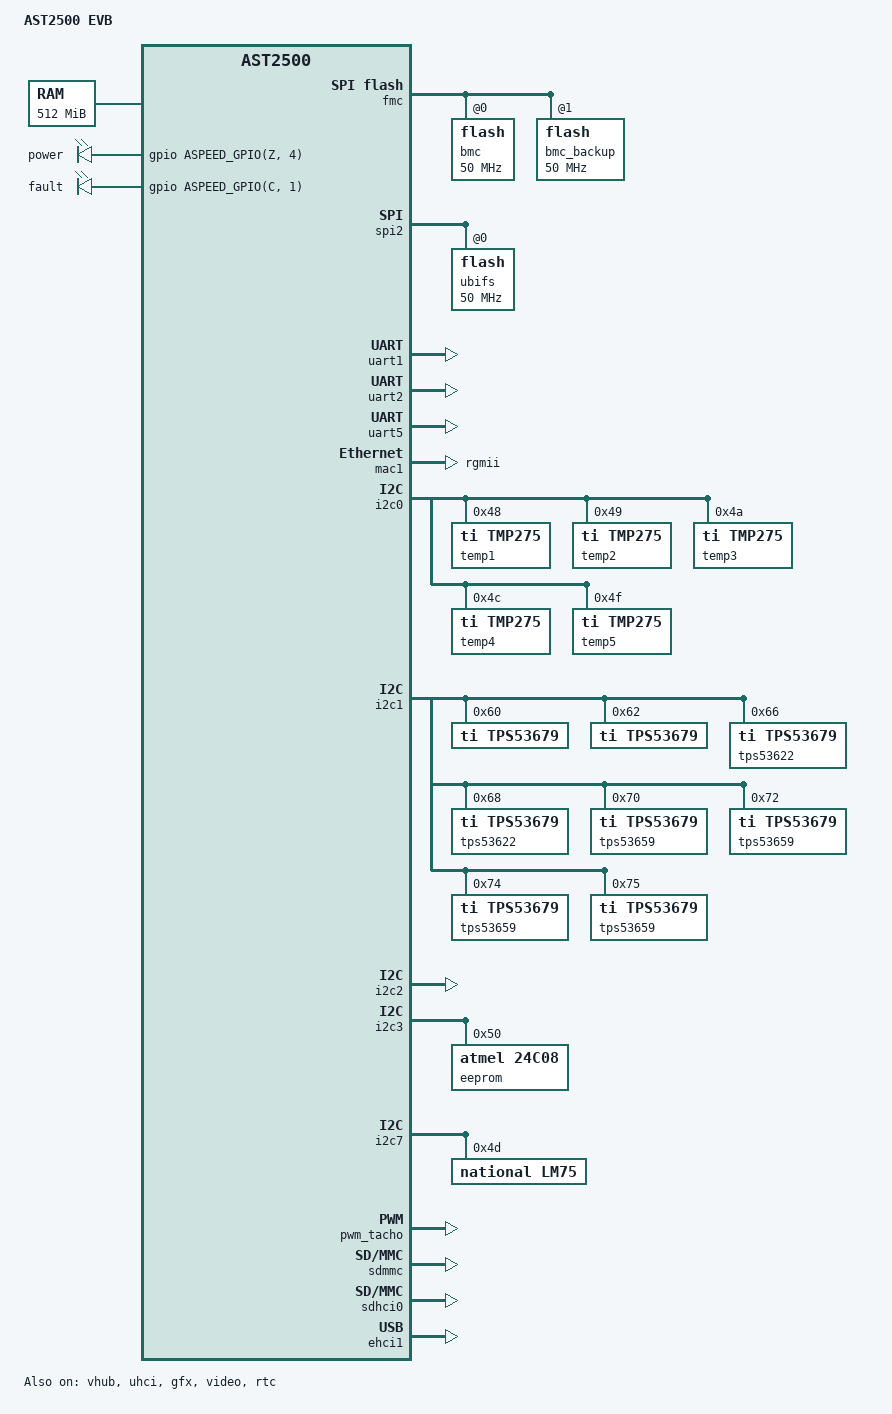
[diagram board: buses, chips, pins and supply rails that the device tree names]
// SPDX-License-Identifier: GPL-2.0+
/dts-v1/;

#include "aspeed-g5.dtsi"
#include <dt-bindings/gpio/aspeed-gpio.h>
/ {
	model = "AST2500 EVB";
	compatible = "aspeed,ast2500-evb", "aspeed,ast2500";

	aliases {
		serial4 = &uart5;
	};

	chosen {
		stdout-path = &uart5;
		bootargs = "console=tty0 console=ttyS4,115200 earlycon";
	};

	memory@80000000 {
		reg = <0x80000000 0x20000000>;
	};

	reserved-memory {
		#address-cells = <1>;
		#size-cells = <1>;
		ranges;

		gfx_memory: framebuffer {
			size = <0x01000000>;
			alignment = <0x01000000>;
			compatible = "shared-dma-pool";
			reusable;
		};

		video_engine_memory: jpegbuffer {
			size = <0x02000000>;	/* 32MM */
			alignment = <0x01000000>;
			compatible = "shared-dma-pool";
			reusable;
 		};		
	};

leds {
		compatible = "gpio-leds";

		power {
			label = "power";
			gpios = <&gpio ASPEED_GPIO(Z, 4) GPIO_ACTIVE_HIGH>;
		};

		fault {
			label = "fault";
			gpios = <&gpio ASPEED_GPIO(C, 1) GPIO_ACTIVE_HIGH>;
		};
	};
	
/*
	gpio-keys {
	   compatible = "gpio-keys, aspeed,ast2500-gpio";
	   
	   powerAction {
	     label = "powerAction";
	     gpios = <&gpio ASPEED_GPIO(Z, 2) GPIO_LINE_OPEN_DRAIN>;
	     linux,code = <&gpio ASPEED_GPIO(Z, 2)>;
	   };
	   
	   powerStatus {
	     label = "powerStatus";
	     gpios = <&gpio ASPEED_GPIO(Z, 0) GPIO_ACTIVE_LOW>;
	     linux,code = <&gpio ASPEED_GPIO(Z, 0)>;
	   };
	 };
*/
};

&fmc {
	status = "okay";
	flash@0 {
		status = "okay";
		m25p,fast-read;
		label = "bmc";
		spi-max-frequency = <50000000>;
#include "openbmc-flash-layout.dtsi"
	};
	
	flash@1 {
		status = "okay";
		m25p,fast-read;
		label = "bmc_backup";
		spi-max-frequency = <50000000>;
#include "openbmc-flash-layout_backup.dtsi"
	};	
};

&spi1 {
	status = "disabled";
	flash@0 {
		status = "disabled";
		m25p,fast-read;
		label = "pnor";
		spi-max-frequency = <100000000>;
	};
};

&spi2 {
	status = "okay";
	pinctrl-names = "default";
	pinctrl-0 = <&pinctrl_spi2ck_default &pinctrl_spi2cs0_default &pinctrl_spi2miso_default &pinctrl_spi2mosi_default>;

	flash@0 {
		status = "okay";
		m25p,fast-read;
		label = "ubifs";
		spi-max-frequency = <50000000>;
	};
};

&uart1 {
	status = "okay";
	pinctrl-names = "default";
	pinctrl-0 = <&pinctrl_txd1_default
			     &pinctrl_rxd1_default
			     &pinctrl_nrts1_default
			     &pinctrl_ndtr1_default
			     &pinctrl_ndsr1_default
			     &pinctrl_ncts1_default
			     &pinctrl_ndcd1_default
			     &pinctrl_nri1_default>;
};

&uart2 {
	status = "okay";
	pinctrl-names = "default";
	pinctrl-0 = <&pinctrl_txd2_default
			     &pinctrl_rxd2_default
			     &pinctrl_nrts2_default
			     &pinctrl_ndtr2_default
			     &pinctrl_ndsr2_default
			     &pinctrl_ncts2_default
			     &pinctrl_ndcd2_default
			     &pinctrl_nri2_default>;
};

&uart5 {
	status = "okay";
};

/*
&mac0 {
	status = "okay";

	pinctrl-names = "default";
	pinctrl-0 = <&pinctrl_rmii1_default &pinctrl_mdio1_default>;
	// Below is the default MAC address and it should be updated via u-boot
	mac-address = [00 03 73 00 00 00];

	phy-mode = "rmii";
    fixed-link = <0 1 1000 0 0>;

	mdio1:mdio {

        #address-cells = <1>;
        #size-cells = <0>;
	};
};
*/

 &mac1 {
 	status = "okay";
 
 	pinctrl-names = "default";
 	pinctrl-0 = <&pinctrl_rgmii2_default &pinctrl_mdio2_default>;
	/*Below is the default MAC address and it should be updated via u-boot*/
	mac-address = [00 03 73 00 00 00];

	phy-mode = "rgmii";
};

&i2c0 {
	status = "okay";
	//Airmax Conn B, CPU0 PIROM, CPU1 PIROM

	temp1@48 {
		compatible = "ti,tmp275";
		reg = <0x48>;
		status = "okay";
	};
	
	temp2@49 {
		compatible = "ti,tmp275";
		reg = <0x49>;
		status = "okay";
	};
		
	temp3@4a {
		compatible = "ti,tmp275";
		reg = <0x4a>;
		status = "okay";
	};
		
	temp4@4c {
		compatible = "ti,tmp275";
		reg = <0x4c>;
		status = "okay";
	};

	temp5@4f {
		compatible = "ti,tmp275";
		reg = <0x4f>;
		status = "okay";
	};
};

&i2c1 {
	status = "okay";

	tps53679@60 {
		compatible = "ti,tps53679";
		reg = <0x60>;
	};

	tps53679@62 {
		compatible = "ti,tps53679";
		reg = <0x62>;
	};
	
	tps53622@66 {
		compatible = "ti,tps53679";
		reg = <0x66>;
	};
	
	tps53622@68 {
		compatible = "ti,tps53679";
		reg = <0x68>;
	};

	tps53659@70 {
		compatible = "ti,tps53679";
		reg = <0x70>;
	};
		
	tps53659@72 {
		compatible = "ti,tps53679";
		reg = <0x72>;
	};
	
	tps53659@74 {
		compatible = "ti,tps53679";
		reg = <0x74>;
	};
	
	tps53659@75 {
		compatible = "ti,tps53679";
		reg = <0x75>;
	};
};

&i2c2 {
	status = "okay";

};

&i2c3 {
	status = "okay";

	eeprom@50 {
		compatible = "atmel,24c08";
		reg = <0x50>;
		pagesize = <16>;
	};
};

&i2c7 {
	status = "okay";

	lm75@4d {
		compatible = "national,lm75";
		reg = <0x4d>;
	};
};

&pwm_tacho {
	status = "okay";
	pinctrl-names = "default";
	pinctrl-0 = <&pinctrl_pwm0_default &pinctrl_pwm1_default
				 &pinctrl_pwm2_default &pinctrl_pwm3_default
				 &pinctrl_pwm4_default>;

	fan@0 {
		reg = <0x00>;
		fan-tach-ch = /bits/ 8 <0x00>;
		#cooling-levels = /bits/ 8 <125 151 177 203 229 255>;
	};
	
	fan@1 {
		reg = <0x01>;
		fan-tach-ch = /bits/ 8 <0x01>;
		#cooling-levels = /bits/ 8 <125 151 177 203 229 255>;
	};
	
	fan@2 {
		reg = <0x02>;
		fan-tach-ch = /bits/ 8 <0x02>;
		#cooling-levels = /bits/ 8 <125 151 177 203 229 255>;
	};
	
	fan@3 {
		reg = <0x03>;
		fan-tach-ch = /bits/ 8 <0x03>;
		#cooling-levels = /bits/ 8 <125 151 177 203 229 255>;
	};
	
	fan@4 {
		reg = <0x04>;
		fan-tach-ch = /bits/ 8 <0x04>;
		#cooling-levels = /bits/ 8 <125 151 177 203 229 255>;
	};
};

&sdmmc {
	status = "okay";
};

&sdhci0 {
	status = "okay";

	pinctrl-names = "default";
	pinctrl-0 = <&pinctrl_sd1_default>;
};

/*
 * Enable port A as device (via the virtual hub) and port B as
 * host by default on the eval board. This can be easily changed
 * by replacing the override below with &ehci0 { ... } to enable
 * host on both ports.
 */
&vhub {
	status = "okay";
};

&ehci1 {
	status = "okay";
};

&uhci {
	status = "okay";
};

&gfx {
     status = "okay";
     memory-region = <&gfx_memory>;
};

&video {
	status = "okay";
	memory-region = <&video_engine_memory>;
};

&rtc {
	status = "okay";
};
